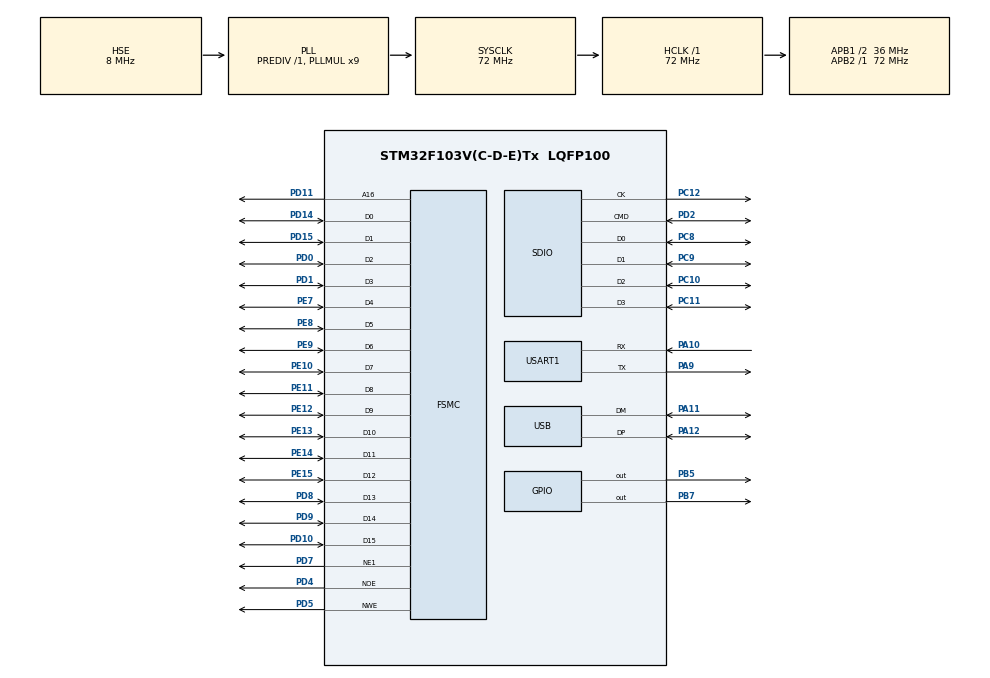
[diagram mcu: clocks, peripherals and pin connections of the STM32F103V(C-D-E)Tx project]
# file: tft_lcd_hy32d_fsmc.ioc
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Dma.Request0=SDIO
Dma.SDIO.0.Direction=DMA_MEMORY_TO_PERIPH
Dma.SDIO.0.Instance=DMA2_Channel4
Dma.SDIO.0.MemDataAlignment=DMA_MDATAALIGN_WORD
Dma.SDIO.0.MemInc=DMA_MINC_ENABLE
Dma.SDIO.0.Mode=DMA_NORMAL
Dma.SDIO.0.PeriphDataAlignment=DMA_PDATAALIGN_WORD
Dma.SDIO.0.PeriphInc=DMA_PINC_DISABLE
Dma.SDIO.0.Priority=DMA_PRIORITY_LOW
FATFS._FS_NORTC=1
FATFS._FS_TINY=0
FATFS._MAX_SS=512
FATFS._USE_FASTSEEK=0
FATFS._WORD_ACCESS=0
Mcu.Family=STM32F1
Mcu.Name=STM32F103V(C-D-E)Tx
Mcu.Package=LQFP100
NVIC.DMA2_Channel4_5_IRQn=true\:1\:0\:true\:false\:true
NVIC.PriorityGroup=NVIC_PRIORITYGROUP_4
NVIC.RTC_IRQn=true\:0\:0\:false\:false\:true
NVIC.SDIO_IRQn=true\:0\:0\:true\:false\:true
NVIC.USB_LP_CAN1_RX0_IRQn=true\:0\:0\:true\:false\:true
OSC_IN.Mode=HSE-External-Oscillator
OSC_IN.Signal=RCC_OSC_IN
OSC_OUT.Mode=HSE-External-Oscillator
OSC_OUT.Signal=RCC_OSC_OUT
PA10.Mode=Asynchronous
PA10.Signal=USART1_RX
PA11.Mode=Device
PA11.Signal=USB_DM
PA12.Mode=Device
PA12.Signal=USB_DP
PA9.Mode=Asynchronous
PA9.Signal=USART1_TX
PB5.Signal=GPIO_Output
PB7.Signal=GPIO_Output
PC10.Mode=SD_4_bits_Wide_bus
PC10.Signal=SDIO_D2
PC11.Mode=SD_4_bits_Wide_bus
PC11.Signal=SDIO_D3
PC12.Mode=SD_4_bits_Wide_bus
PC12.Signal=SDIO_CK
PC14-OSC32_IN.Mode=LSE-External-Oscillator
PC14-OSC32_IN.Signal=RCC_OSC32_IN
PC15-OSC32_OUT.Mode=LSE-External-Oscillator
PC15-OSC32_OUT.Signal=RCC_OSC32_OUT
PC8.Mode=SD_4_bits_Wide_bus
PC8.Signal=SDIO_D0
PC9.Mode=SD_4_bits_Wide_bus
PC9.Signal=SDIO_D1
PD0.Mode=16b-d1
PD0.Signal=FSMC_D2
PD1.Mode=16b-d1
PD1.Signal=FSMC_D3
PD10.Mode=16b-d1
PD10.Signal=FSMC_D15
PD11.Mode=A16_1
PD11.Signal=FSMC_A16
PD14.Mode=16b-d1
PD14.Signal=FSMC_D0
PD15.Mode=16b-d1
PD15.Signal=FSMC_D1
PD2.Mode=SD_4_bits_Wide_bus
PD2.Signal=SDIO_CMD
PD4.Mode=Lcd1
PD4.Signal=FSMC_NOE
PD5.Mode=Lcd1
PD5.Signal=FSMC_NWE
PD7.Mode=NorPsramChipSelect1_1
PD7.Signal=FSMC_NE1
PD8.Mode=16b-d1
PD8.Signal=FSMC_D13
PD9.Mode=16b-d1
PD9.Signal=FSMC_D14
PE10.Mode=16b-d1
PE10.Signal=FSMC_D7
PE11.Mode=16b-d1
PE11.Signal=FSMC_D8
PE12.Mode=16b-d1
PE12.Signal=FSMC_D9
PE13.Mode=16b-d1
PE13.Signal=FSMC_D10
PE14.Mode=16b-d1
PE14.Signal=FSMC_D11
PE15.Mode=16b-d1
PE15.Signal=FSMC_D12
PE7.Mode=16b-d1
PE7.Signal=FSMC_D4
PE8.Mode=16b-d1
PE8.Signal=FSMC_D5
PE9.Mode=16b-d1
PE9.Signal=FSMC_D6
ProjectManager.HeapSize=0x400
ProjectManager.StackSize=0x800
ProjectManager.TargetToolchain=MDK-ARM V5
RCC.AHBFreq_Value=72000000
RCC.APB1CLKDivider=RCC_HCLK_DIV2
RCC.APB1Freq_Value=36000000
RCC.APB1TimFreq_Value=72000000
RCC.APB2Freq_Value=72000000
RCC.APB2TimFreq_Value=72000000
RCC.HCLKFreq_Value=72000000
RCC.HSIState=RCC_HSI_ON
RCC.PLLMUL=RCC_PLL_MUL9
RCC.PLLSourceVirtual=RCC_PLLSOURCE_HSE
RCC.RTCClockSelection=RCC_RTCCLKSOURCE_LSE
RCC.SYSCLKFreq_VALUE=72000000
RCC.SYSCLKSource=RCC_SYSCLKSOURCE_PLLCLK
RCC.USBFreq_Value=48000000
RCC.USBPrescaler=RCC_USBCLKSOURCE_PLL_DIV1_5
RTC.Date=22
RTC.Format=RTC_FORMAT_BIN
RTC.Hours=12
RTC.Minutes=59
RTC.Month=RTC_MONTH_APRIL
RTC.Seconds=50
RTC.WeekDay=RTC_WEEKDAY_FRIDAY
RTC.Year=16
SDIO.BusWide=SDIO_BUS_WIDE_1B
SDIO.ClockDiv=4
SDIO.WideMode=SDIO_BUS_WIDE_4B
USB_DEVICE.USBD_DEBUG_LEVEL=0
USB_DEVICE.USBD_HandleTypeDef=hUsbDeviceFS
USB_DEVICE.VirtualMode=Msc
USB_DEVICE.VirtualModeFS=Msc_FS
VP_FATFS_VS_SDIO.Mode=SDIO
VP_RTC_No_RTC_Output.Mode=RTC_OUT_NO
VP_USB_DEVICE_VS_USB_DEVICE_MSC_FS.Mode=MSC_FS
board=tft_lcd_hy32d_fsmc

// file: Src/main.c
/**
  ******************************************************************************
  * File Name          : main.c
  * Description        : Main program body
  ******************************************************************************
  *
  * COPYRIGHT(c) 2016 STMicroelectronics
  *
  * Redistribution and use in source and binary forms, with or without modification,
  * are permitted provided that the following conditions are met:
  *   1. Redistributions of source code must retain the above copyright notice,
  *      this list of conditions and the following disclaimer.
  *   2. Redistributions in binary form must reproduce the above copyright notice,
  *      this list of conditions and the following disclaimer in the documentation
  *      and/or other materials provided with the distribution.
  *   3. Neither the name of STMicroelectronics nor the names of its contributors
  *      may be used to endorse or promote products derived from this software
  *      without specific prior written permission.
  *
  * THIS SOFTWARE IS PROVIDED BY THE COPYRIGHT HOLDERS AND CONTRIBUTORS "AS IS"
  * AND ANY EXPRESS OR IMPLIED WARRANTIES, INCLUDING, BUT NOT LIMITED TO, THE
  * IMPLIED WARRANTIES OF MERCHANTABILITY AND FITNESS FOR A PARTICULAR PURPOSE ARE
  * DISCLAIMED. IN NO EVENT SHALL THE COPYRIGHT HOLDER OR CONTRIBUTORS BE LIABLE
  * FOR ANY DIRECT, INDIRECT, INCIDENTAL, SPECIAL, EXEMPLARY, OR CONSEQUENTIAL
  * DAMAGES (INCLUDING, BUT NOT LIMITED TO, PROCUREMENT OF SUBSTITUTE GOODS OR
  * SERVICES; LOSS OF USE, DATA, OR PROFITS; OR BUSINESS INTERRUPTION) HOWEVER
  * CAUSED AND ON ANY THEORY OF LIABILITY, WHETHER IN CONTRACT, STRICT LIABILITY,
  * OR TORT (INCLUDING NEGLIGENCE OR OTHERWISE) ARISING IN ANY WAY OUT OF THE USE
  * OF THIS SOFTWARE, EVEN IF ADVISED OF THE POSSIBILITY OF SUCH DAMAGE.
  *
  ******************************************************************************
  */
#include "stm32f1xx_hal.h"
#include "fatfs.h"
#include "usb_device.h"
#include "TouchPanel.h"
/* USER CODE BEGIN Includes */
#include "string.h"
/* USER CODE END Includes */

RTC_HandleTypeDef hrtc;

SD_HandleTypeDef hsd;
HAL_SD_CardInfoTypedef SDCardInfo;
DMA_HandleTypeDef hdma_sdio;

UART_HandleTypeDef huart1;

SRAM_HandleTypeDef hsram1;

/* USER CODE BEGIN PV */
/* Private variables ---------------------------------------------------------*/

/* USER CODE END PV */

void SystemClock_Config(void);
static void MX_GPIO_Init(void);
static void MX_DMA_Init(void);
static void MX_FSMC_Init(void);
static void MX_SDIO_SD_Init(void);
static void MX_USART1_UART_Init(void);
static void MX_RTC_Init(void);

/* USER CODE BEGIN PFP */
/* Private function prototypes -----------------------------------------------*/

/* USER CODE END PFP */

/* USER CODE BEGIN 0 */
const int TSTWORD = 201;
static RTC_TimeTypeDef sTime;
static RTC_DateTypeDef		sDate;

// FSMC
#define FSMC_LCD_INSTANCE &hsram1
#define FSMC_LCD_DATA 		(uint32_t*)0x60020000
#define FSMC_LCD_COMMAND  (uint32_t*)0x60000000

void FSMC_LCD_Write_Command(uint16_t command) {
  *(__IO uint16_t *)FSMC_LCD_COMMAND = command;
	//HAL_SRAM_Write_16b(FSMC_LCD_INSTANCE, FSMC_LCD_COMMAND, &command, 1);
}

void FSMC_LCD_Write_Data(uint16_t data) {
  *(__IO uint16_t *)FSMC_LCD_DATA = data;
	//HAL_SRAM_Write_16b(FSMC_LCD_INSTANCE, FSMC_LCD_DATA, &data, 1);
}

uint16_t FSMC_LCD_Read_Data(void) {
	uint16_t data = 0;
	data = *(__IO uint16_t *)FSMC_LCD_DATA;
  //HAL_SRAM_Read_16b(FSMC_LCD_INSTANCE, FSMC_LCD_DATA, &data, 1);
	return data;
}

void FSMC_LCD_Write_Register(uint16_t reg, uint16_t val)
{
  FSMC_LCD_Write_Command(reg);
  FSMC_LCD_Write_Data(val);
}

// SSD1289 Initialize Sequence
// R01h Display Control Register
#define LCD_R01_RL 0
#define LCD_R01_REV 1
#define LCD_R01_CAD 0
#define LCD_R01_BGR 0
#define LCD_R01_SM 0
#define LCD_R01_TB 1
#define LCD_R01_MUX 319

// PB11-LED_A
void LCD_BACKLIGHT_ON() { HAL_GPIO_WritePin(GPIOB,GPIO_PIN_5,GPIO_PIN_SET);}
void LCD_BACKLIGHT_OFF() { HAL_GPIO_WritePin(GPIOB,GPIO_PIN_5,GPIO_PIN_RESET); }

void SSD1289_Init() {

  LCD_BACKLIGHT_ON();

  // Display ON Sequence
  // Power supply setting

  // Set R07h at 0021h
  FSMC_LCD_Write_Register(0x07, 0x0021);
  HAL_Delay(1);  // s
  FSMC_LCD_Write_Register(0x00, 0x0001);
  HAL_Delay(1);  // s

  // Set R07h at 0023h
  FSMC_LCD_Write_Register(0x07, 0x0023);
  HAL_Delay(1);  // s

  // Set R10h at 0000h
  FSMC_LCD_Write_Register(0x10, 0x0000);
  HAL_Delay(1);  // s

  // Wait 30ms
  HAL_Delay(30);  // s

  // Set R07h at 0033h
  FSMC_LCD_Write_Register(0x07, 0x0033);
  HAL_Delay(1);  // s

  // Entry Mode setting (R11h)
  FSMC_LCD_Write_Register(0x0011, 0x6070);
  HAL_Delay(1);  // s

  // LCD driver AC setting (R02h)
  FSMC_LCD_Write_Register(0x0002, 0x0600);
  HAL_Delay(1);  // s

  // Driver Output Control (R01h)
  FSMC_LCD_Write_Register(0x0001,
      (LCD_R01_RL << 14) | (LCD_R01_REV << 13) | (LCD_R01_CAD << 12) | (LCD_R01_BGR << 11) | (LCD_R01_SM << 10) | (LCD_R01_TB << 9) | LCD_R01_MUX);
  HAL_Delay(1);

	FSMC_LCD_Write_Register(0x000b, 0x0000);  // Frame Cycle Control
  FSMC_LCD_Write_Register(0x000f, 0x0000);  // Gate Scan Start Position
	FSMC_LCD_Write_Register(0x0044, 0xef00);  // Horizontal RAM start and end address
  FSMC_LCD_Write_Register(0x0045, 0x0000);  // Vertical RAM start address
  FSMC_LCD_Write_Register(0x0046, 0x013f);  // Vertical RAM end address

  // RAM data write (R22h)
  FSMC_LCD_Write_Command(0x0022);  // s

  // Display ON and start to write RAM
  HAL_Delay(100);
}

// LCD Graphic Interface
// Colors
#define yellow    0x07FF
#define magneta   0xF81F
#define cyan      0xFFE0
#define red       0x001F
#define green     0x07E0
#define blue      0xF800
#define white     0xFFFF
#define black     0x3185
#define glass      0x0000

const unsigned char font_5x7[][5] = { { 0x00, 0x00, 0x00, 0x00, 0x00 }, // �?���?�q�u�|
    { 0x00, 0x00, 0x4f, 0x00, 0x00 },     // !
    { 0x00, 0x07, 0x00, 0x07, 0x00 },     // "
    { 0x14, 0x7f, 0x14, 0x7f, 0x14 },     // #
    { 0x24, 0x2a, 0x7f, 0x2a, 0x12 },     // $
    { 0x23, 0x13, 0x08, 0x64, 0x62 },     // %
    { 0x36, 0x49, 0x55, 0x22, 0x40 },     // &
    { 0x00, 0x05, 0x03, 0x00, 0x00 },     // ,
    { 0x00, 0x1c, 0x22, 0x41, 0x00 },     // (
    { 0x00, 0x41, 0x22, 0x1c, 0x00 },     // )
    { 0x14, 0x08, 0x3E, 0x08, 0x14 },     // *
    { 0x08, 0x08, 0x3E, 0x08, 0x08 },     // +
    { 0x00, 0x50, 0x30, 0x00, 0x00 },     // ,
    { 0x08, 0x08, 0x08, 0x08, 0x08 },     // -
    { 0x00, 0x00, 0x40, 0x00, 0x00 },     // .
    { 0x20, 0x10, 0x08, 0x04, 0x02 },     // /
    { 0x3e, 0x51, 0x49, 0x45, 0x3e },     // 0
    { 0x00, 0x42, 0x7f, 0x40, 0x00 },     // 1
    { 0x42, 0x61, 0x51, 0x49, 0x46 },     // 2
    { 0x21, 0x41, 0x45, 0x4b, 0x31 },     // 3
    { 0x18, 0x14, 0x12, 0x7f, 0x10 },     // 4
    { 0x27, 0x45, 0x45, 0x45, 0x39 },     // 5
    { 0x3c, 0x4a, 0x49, 0x49, 0x30 },     // 6
    { 0x01, 0x71, 0x09, 0x05, 0x03 },     // 7
    { 0x36, 0x49, 0x49, 0x49, 0x36 },     // 8
    { 0x06, 0x49, 0x49, 0x29, 0x1e },     // 9
    { 0x00, 0x00, 0x24, 0x00, 0x00 },     // :
    { 0x00, 0x56, 0x36, 0x00, 0x00 },     // ;
    { 0x08, 0x1C, 0x3E, 0x7F, 0x00 },     // <
    { 0x14, 0x14, 0x14, 0x14, 0x14 },     // =
    { 0x00, 0x7F, 0x3E, 0x1C, 0x08 },     // >
    { 0x02, 0x01, 0x51, 0x09, 0x06 },     // ?
    { 0x32, 0x49, 0x71, 0x41, 0x3e },     // @
    { 0x7e, 0x11, 0x11, 0x11, 0x7e },     // A
    { 0x7f, 0x49, 0x49, 0x49, 0x36 },     // B
    { 0x3e, 0x41, 0x41, 0x41, 0x22 },     // C
    { 0x7f, 0x41, 0x41, 0x22, 0x1c },     // D
    { 0x7f, 0x49, 0x49, 0x49, 0x41 },     // E
    { 0x7f, 0x09, 0x09, 0x09, 0x01 },     // F
    { 0x3e, 0x41, 0x49, 0x49, 0x3a },     // G
    { 0x7f, 0x08, 0x08, 0x08, 0x7f },     // H
    { 0x00, 0x41, 0x7f, 0x41, 0x00 },     // I
    { 0x20, 0x40, 0x41, 0x3f, 0x01 },     // J
    { 0x7f, 0x08, 0x14, 0x22, 0x41 },     // K
    { 0x7f, 0x40, 0x40, 0x40, 0x40 },     // L
    { 0x7f, 0x02, 0x0c, 0x02, 0x7f },     // M
    { 0x7f, 0x04, 0x08, 0x10, 0x7f },     // N
    { 0x3e, 0x41, 0x41, 0x41, 0x3e },     // O
    { 0x7f, 0x09, 0x09, 0x09, 0x06 },     // P
    { 0x3e, 0x41, 0x51, 0x21, 0x5e },     // Q
    { 0x7f, 0x09, 0x19, 0x29, 0x46 },     // R
    { 0x46, 0x49, 0x49, 0x49, 0x31 },     // S
    { 0x01, 0x01, 0x7f, 0x01, 0x01 },     // T
    { 0x3f, 0x40, 0x40, 0x40, 0x3f },     // U
    { 0x1f, 0x20, 0x40, 0x20, 0x1f },     // V
    { 0x3f, 0x40, 0x30, 0x40, 0x3f },     // W
    { 0x63, 0x14, 0x08, 0x14, 0x63 },     // X
    { 0x07, 0x08, 0x70, 0x08, 0x07 },     // Y
    { 0x61, 0x51, 0x49, 0x45, 0x43 },     // Z
    { 0x00, 0x7F, 0x41, 0x41, 0x00 },     // [
    { 0x02, 0x04, 0x08, 0x10, 0x20 },     //
    { 0x02, 0x04, 0x08, 0x10, 0x20 },     //
    { 0x00, 0x41, 0x41, 0x7F, 0x00 },     // ]
    { 0x04, 0x02, 0x01, 0x02, 0x04 },     // ^
    { 0x40, 0x40, 0x40, 0x40, 0x40 },     // _
    { 0x20, 0x54, 0x54, 0x54, 0x78 },     // a
    { 0x7F, 0x48, 0x44, 0x44, 0x38 },     // b
    { 0x38, 0x44, 0x44, 0x44, 0x20 },     // c
    { 0x38, 0x44, 0x44, 0x48, 0x7F },     // d
    { 0x38, 0x54, 0x54, 0x54, 0x18 },     // e
    { 0x08, 0x7E, 0x09, 0x01, 0x02 },     // f
    { 0x0C, 0x52, 0x52, 0x52, 0x3E },     // g
    { 0x7F, 0x08, 0x04, 0x04, 0x78 },     // h
    { 0x00, 0x44, 0x7D, 0x40, 0x00 },     // i
    { 0x20, 0x40, 0x44, 0x3D, 0x00 },     // j
    { 0x7F, 0x10, 0x28, 0x44, 0x00 },     // k
    { 0x00, 0x41, 0x7F, 0x40, 0x00 },     // l
    { 0x7C, 0x04, 0x18, 0x04, 0x78 },     // m
    { 0x7C, 0x08, 0x04, 0x04, 0x78 },     // n
    { 0x38, 0x44, 0x44, 0x44, 0x38 },     // o
    { 0x7C, 0x14, 0x14, 0x14, 0x08 },     // p
    { 0x08, 0x14, 0x14, 0x18, 0x7C },     // q
    { 0x7C, 0x08, 0x04, 0x04, 0x08 },     // r
    { 0x48, 0x54, 0x54, 0x54, 0x20 },     // s
    { 0x04, 0x3F, 0x44, 0x40, 0x20 },     // t
    { 0x3C, 0x40, 0x40, 0x20, 0x7C },     // u
    { 0x1C, 0x20, 0x40, 0x20, 0x1C },     // v
    { 0x3C, 0x40, 0x30, 0x40, 0x3C },     // w
    { 0x44, 0x28, 0x10, 0x28, 0x44 },     // x
    { 0x0C, 0x50, 0x50, 0x50, 0x3C },     // y
    { 0x44, 0x64, 0x54, 0x4C, 0x44 },     // z
    { 0x00, 0x08, 0x36, 0x41, 0x00 },     // {
    { 0x00, 0x00, 0x7f, 0x00, 0x00 },     // |
    { 0x00, 0x41, 0x36, 0x08, 0x00 },     // }
    { 0x02, 0x01, 0x02, 0x02, 0x01 }     // ~
};

void LCD_SetCursor(uint16_t x, uint16_t y) {

  FSMC_LCD_Write_Register(0x004E,x);
  FSMC_LCD_Write_Register(0x004F,y);
  FSMC_LCD_Write_Command(0x22);
}

void LCD_Clear(uint16_t color) {
  uint32_t index = 0;
  LCD_SetCursor(0, 0);
  FSMC_LCD_Write_Command(0x22);
  for (index = 0; index < 240 * 320; index++) {
    FSMC_LCD_Write_Data(color);
  }
	FSMC_LCD_Write_Command(0x0022);
}

void LCD_SetPoint(uint16_t x, uint16_t y, uint16_t Color) {
  LCD_SetCursor(y, x);
  FSMC_LCD_Write_Register(0x22, Color);
}

void LCD_SetArea(uint16_t x1, uint16_t y1, uint16_t x2, uint16_t y2) {
  FSMC_LCD_Write_Command(0x44);
  FSMC_LCD_Write_Data((x2 << 8) | x1);    // Source RAM address window
  FSMC_LCD_Write_Command(0x45);
  FSMC_LCD_Write_Data(y1);    // Gate RAM address window
  FSMC_LCD_Write_Command(0x46);
  FSMC_LCD_Write_Data(y2);    // Gate RAM address window
  LCD_SetCursor(x1, y1);
}

void LCD_WriteChar5x7(uint16_t x, uint16_t y, char c, uint16_t t_color,
    uint16_t b_color, uint8_t rot, uint8_t zoom) {
  unsigned char h, ch, p, mask, z, z1;

  if (rot != 0)
    LCD_SetArea(x, y, x + (6 * zoom) - 1, y + (8 * zoom) - 1);
  else
    LCD_SetArea(y, x, y + (8 * zoom) - 1, x + (6 * zoom) - 1);

  for (h = 0; h < 6; h++) {
    if (h < 5) {
      if ((uint8_t)c < 129)
        ch = font_5x7[c - 32][h];
      else
        ch = font_5x7[c - 32 - 63][h];

      if (rot != 0) {
        FSMC_LCD_Write_Register(0x0011,0x6078);
        FSMC_LCD_Write_Command(0x22);
      }
    } else
      ch = 0;

    z1 = zoom;
    while (z1 != 0) {
      if (rot != 0)
        mask = 0x01;
      else
        mask = 0x80;

      for (p = 0; p < 8; p++) {
        z = zoom;

				if(b_color == glass)
        while (z != 0) {
          if (ch & mask)
            FSMC_LCD_Write_Data(t_color);
          else
            FSMC_LCD_Read_Data();
          z--;
        }
				else
					while (z != 0) {
          if (ch & mask)
            FSMC_LCD_Write_Data(t_color);
          else
						FSMC_LCD_Write_Data(b_color);
          z--;
        }

        if (rot != 0)
          mask = mask << 1;
        else
          mask = mask >> 1;
      }
      z1--;
    }
  }

	LCD_SetArea(0,0,239,316);
}

void LCD_WriteString_5x7(uint16_t x, uint16_t y, char *text, uint16_t charColor,
    uint16_t b_color, uint8_t rot, uint8_t zoom) {
  uint8_t i;
  for (i = 0; *text; i++)
    LCD_WriteChar5x7(x + (i * 6 * zoom), y, *text++, charColor, b_color, rot,
        zoom);
}

void LCD_Draw_Line(uint16_t x1, uint16_t y1, uint16_t x2, uint16_t y2,
    uint16_t color) {
  uint16_t x, y, dx, dy;
  if (y1 == y2) {
    if (x1 <= x2)
      x = x1;
    else {
      x = x2;
      x2 = x1;
    }

    while (x <= x2) {
      LCD_SetPoint(x, y1, color);
      x++;
    }
    return;
  }

  else if (y1 > y2)
    dy = y1 - y2;
  else
    dy = y2 - y1;

  if (x1 == x2) {
    if (y1 <= y2)
      y = y1;
    else {
      y = y2;
      y2 = y1;
    }

    while (y <= y2) {
      LCD_SetPoint(x1, y, color);
      y++;
    }
    return;
  }

  else if (x1 > x2) {
    dx = x1 - x2;
    x = x2;
    x2 = x1;
    y = y2;
    y2 = y1;
  } else {
    dx = x2 - x1;
    x = x1;
    y = y1;
  }
  if (dx == dy) {
    while (x <= x2) {
      x++;
      if (y > y2)
        y--;

      else
        y++;
      LCD_SetPoint(x, y, color);
    }
  } else {
    LCD_SetPoint(x, y, color);
    if (y < y2) {
      if (dx > dy) {
        int16_t p = dy * 2 - dx;
        int16_t twoDy = 2 * dy;
        int16_t twoDyMinusDx = 2 * (dy - dx);
        while (x < x2) {
          x++;
          if (p < 0)
            p += twoDy;
          else {
            y++;
            p += twoDyMinusDx;
          }
          LCD_SetPoint(x, y, color);
        }
      } else {
        int16_t p = dx * 2 - dy;
        int16_t twoDx = 2 * dx;
        int16_t twoDxMinusDy = 2 * (dx - dy);
        while (y < y2) {
          y++;
          if (p < 0)
            p += twoDx;
          else {
            x++;
            p += twoDxMinusDy;
          }
          LCD_SetPoint(x, y, color);
        }
      }
    } else {
      if (dx > dy) {
        int16_t p = dy * 2 - dx;
        int16_t twoDy = 2 * dy;
        int16_t twoDyMinusDx = 2 * (dy - dx);
        while (x < x2) {
          x++;
          if (p < 0)
            p += twoDy;
          else {
            y--;
            p += twoDyMinusDx;
          }
          LCD_SetPoint(x, y, color);
        }
      } else {
        int16_t p = dx * 2 - dy;
        int16_t twoDx = 2 * dx;
        int16_t twoDxMinusDy = 2 * (dx - dy);
        while (y2 < y) {
          y--;
          if (p < 0)
            p += twoDx;
          else {
            x++;
            p += twoDxMinusDy;
          }
          LCD_SetPoint(x, y, color);
        }
      }
    }
  }
}

void LCD_Draw_Rectangle(uint16_t x1, uint16_t y1, uint16_t x2, uint16_t y2,
    uint16_t color, uint8_t fill) {
  if (fill) {
    uint16_t i;
    if (x1 > x2) {
      i = x2;
      x2 = x1;
    } else
      i = x1;
    for (; i <= x2; i++)
      LCD_Draw_Line(i, y1, i, y2, color);
    return;
  }
  LCD_Draw_Line(x1, y1, x1, y2, color);
  LCD_Draw_Line(x1, y2, x2, y2, color);
  LCD_Draw_Line(x2, y2, x2, y1, color);
  LCD_Draw_Line(x2, y1, x1, y1, color);
}

void HAL_RTCEx_RTCEventCallback(RTC_HandleTypeDef *hrtc){
	static int day = 0;
HAL_RTC_GetDate(hrtc, &sDate, FORMAT_BIN);
HAL_RTC_GetTime(hrtc, &sTime, FORMAT_BIN);
	if(day != sDate.Date){
		day = sDate.Date;
		HAL_RTCEx_BKUPWrite(hrtc, RTC_BKP_DR2,sDate.Month);
		HAL_RTCEx_BKUPWrite(hrtc, RTC_BKP_DR3,sDate.Date);
		HAL_RTCEx_BKUPWrite(hrtc, RTC_BKP_DR4,sDate.Year);
	}

};

void HAL_RTCEx_RTCEventErrorCallback(RTC_HandleTypeDef *hrtc){

while(1){};

}

/* USER CODE END 0 */

int main(void)
{

  /* USER CODE BEGIN 1 */
 FATFS fileSystem;
 FIL testFile;
  UINT testBytes;
  FRESULT res;
	char buf[100];
  /* USER CODE END 1 */

  /* MCU Configuration----------------------------------------------------------*/

  /* Reset of all peripherals, Initializes the Flash interface and the Systick. */
  HAL_Init();

  /* Configure the system clock */
  SystemClock_Config();

  /* Initialize all configured peripherals */
  MX_GPIO_Init();
  MX_DMA_Init();
  MX_FSMC_Init();
  MX_SDIO_SD_Init();
  MX_USART1_UART_Init();
  MX_FATFS_Init();
  MX_USB_DEVICE_Init();
  MX_RTC_Init();

  /* USER CODE BEGIN 2 */

HAL_GPIO_WritePin(GPIOB,GPIO_PIN_7,GPIO_PIN_SET);
HAL_Delay(100);

  SSD1289_Init();
LCD_Clear(black);

TP_Init();
 TouchPanel_Calibrate(0);
//HAL_UART_Transmit(&huart1,"start\n",strlen("start\n"),1);
//HAL_UART_Transmit(&huart1,"star1\n",strlen("star1\n"),1);
//HAL_UART_Transmit(&huart1,"star2\n",strlen("star2\n"),1);

	//MX_USB_DEVICE_Init();
	//HAL_Delay(1000);
	//HAL_GPIO_WritePin(GPIOB,GPIO_PIN_7,GPIO_PIN_RESET);

 f_mount(&fileSystem, SD_Path, 1);

		uint8_t path[13] = "testfile.txt";
    path[12] = '\0';

 	LCD_Clear(yellow);/*
  LCD_WriteString_5x7(20, 240 - 30, "Hello world.", red, yellow, 0, 1);
	LCD_WriteString_5x7(20, 240 - 30 - 20, "STM32F103VET6", green, yellow, 0, 1);
*/

  /* USER CODE END 2 */

  /* Infinite loop */
  while (1)
  {

  /* USER CODE BEGIN 3 */
/*	LCD_Clear(yellow);*/

  //LCD_Draw_Rectangle(50, 160, 150, 175, red, 1);
  //LCD_Draw_Rectangle(10, 10, 40, 40, blue, 1);
  //LCD_Draw_Rectangle(20, 20, 60, 60, white, 1);
		/*
		memset(buf,0,100);
		sprintf(buf, "Date: %02d/%02d/%02d", sDate.Date, sDate.Month, sDate.Year);
LCD_WriteString_5x7(50,100, buf, magneta, yellow,0, 2);
		memset(buf,0,100);
sprintf(buf, "Time: %02d:%02d:%02d", sTime.Hours, sTime.Minutes, sTime.Seconds);
LCD_WriteString_5x7(50, 160, buf, magneta, yellow,0, 2);
//HAL_UART_Transmit(&huart1,(uint8_t*)&buf, strlen(buf), 10);
*/
		//Read_Ads7846();
		//LCD_TouchRead(&display);
		int x,y;
		TP_GetAdXY(&x,&y);
				sprintf(buf, "x %05d y %05d", x,y);
LCD_WriteString_5x7(50, 50, buf, magneta, yellow,0, 2);

		if(Read_Ads7846() != 0){
		getDisplayPoint(&display, Read_Ads7846(), &matrix ) ; // ???????? ?????
 					//	 TP_DrawPoint(display.x,display.y);	// ?????????? ?????

		sprintf(buf, "xS %03d yS %03d", display.x,display.y);
LCD_WriteString_5x7(50, 75, buf, magneta, yellow,0, 2);
			LCD_Draw_Rectangle(display.y,display.x,display.y+2,display.x+2,red,1);
		}else{
		//sprintf(buf, "xS NON yS NON");
		}

	/*	if(sTime.Seconds %10 ==0){
		     res = f_open(&testFile, (char*)path, FA_READ |FA_WRITE );
		uint16_t tmp = f_size(&testFile);
		res = f_lseek(&testFile, tmp);

		memset(buf,0,100);
		sprintf(buf, "Date: %02d/%02d/%02d Time: %02d:%02d:%02d\r\n\0", sDate.Date, sDate.Month, sDate.Year, sTime.Hours, sTime.Minutes, sTime.Seconds);

    res = f_write(&testFile, buf, strlen(buf), &testBytes);
		f_sync(&testFile);
    res = f_close(&testFile);
*/
	//MX_USB_DEVICE_Init();
	/*HAL_Delay(1000);
	HAL_GPIO_WritePin(GPIOB,GPIO_PIN_7,GPIO_PIN_RESET);*/

	//	}

		/*for(int i = 1; i < 10; i++){
			char buf[255];
			memset(buf,0,255);
			sprintf(buf,"Tcvetkov Evgeniy %d",i);
			LCD_WriteString_5x7(50, 240 - 30 - 20 - 20*i, buf, magneta, glass,0, 1);
		}*/

/*
  LCD_WriteString_5x7(10, 240 - 30 - 20 - 20 - 20, "abcdefghijklmnopqrstuvwxyz",
      yellow, black, 0, 1);
  LCD_WriteString_5x7(10, 240 - 30 - 20 - 20 - 20 - 10,
      "ABCDEFGHIJKLMNOPQRSTUVWXYZ", green, black, 0, 1);
  LCD_WriteString_5x7(10, 240 - 30 - 20 - 20 - 20 - 10 - 10,
      "!@#$%^&*()+-={[}]|;:'\"<,.>`~", blue, black, 0, 1);
	  LCD_WriteString_5x7(10, 240 - 30 - 20 - 20 - 20 - 10 - 10 -10,
      "!@#$%^&*()+-={[}]|;:'\"<,.>`~", blue, black, 1, 1);*/
	//	LCD_WriteString_5x7(10, 240 - 30 - 20 - 20 - 20 - 10 - 10 -10 - 10,
    //  "", blue, black, 1, 1);
			//FSMC_LCD_Write_Command(0x0022);
		//HAL_Delay(1000);

  }
  /* USER CODE END 3 */

}

/** System Clock Configuration
*/
void SystemClock_Config(void)
{

  RCC_OscInitTypeDef RCC_OscInitStruct;
  RCC_ClkInitTypeDef RCC_ClkInitStruct;
  RCC_PeriphCLKInitTypeDef PeriphClkInit;

  RCC_OscInitStruct.OscillatorType = RCC_OSCILLATORTYPE_HSE|RCC_OSCILLATORTYPE_LSE;
  RCC_OscInitStruct.HSEState = RCC_HSE_ON;
  RCC_OscInitStruct.HSEPredivValue = RCC_HSE_PREDIV_DIV1;
  RCC_OscInitStruct.LSEState = RCC_LSE_ON;
  RCC_OscInitStruct.PLL.PLLState = RCC_PLL_ON;
  RCC_OscInitStruct.PLL.PLLSource = RCC_PLLSOURCE_HSE;
  RCC_OscInitStruct.PLL.PLLMUL = RCC_PLL_MUL9;
  HAL_RCC_OscConfig(&RCC_OscInitStruct);

  RCC_ClkInitStruct.ClockType = RCC_CLOCKTYPE_HCLK|RCC_CLOCKTYPE_SYSCLK
                              |RCC_CLOCKTYPE_PCLK1|RCC_CLOCKTYPE_PCLK2;
  RCC_ClkInitStruct.SYSCLKSource = RCC_SYSCLKSOURCE_PLLCLK;
  RCC_ClkInitStruct.AHBCLKDivider = RCC_SYSCLK_DIV1;
  RCC_ClkInitStruct.APB1CLKDivider = RCC_HCLK_DIV2;
  RCC_ClkInitStruct.APB2CLKDivider = RCC_HCLK_DIV1;
  HAL_RCC_ClockConfig(&RCC_ClkInitStruct, FLASH_LATENCY_2);

  PeriphClkInit.PeriphClockSelection = RCC_PERIPHCLK_RTC|RCC_PERIPHCLK_USB;
  PeriphClkInit.RTCClockSelection = RCC_RTCCLKSOURCE_LSE;
  PeriphClkInit.UsbClockSelection = RCC_USBCLKSOURCE_PLL_DIV1_5;
  HAL_RCCEx_PeriphCLKConfig(&PeriphClkInit);

  HAL_SYSTICK_Config(HAL_RCC_GetHCLKFreq()/1000);

  HAL_SYSTICK_CLKSourceConfig(SYSTICK_CLKSOURCE_HCLK);

  /* SysTick_IRQn interrupt configuration */
  HAL_NVIC_SetPriority(SysTick_IRQn, 2, 0);
}

/* RTC init function */
void MX_RTC_Init(void)
{

  RTC_TimeTypeDef sTime;
  RTC_DateTypeDef DateToUpdate;

    /**Initialize RTC and set the Time and Date
    */
  hrtc.Instance = RTC;
  hrtc.Init.AsynchPrediv = RTC_AUTO_1_SECOND;
  hrtc.Init.OutPut = RTC_OUTPUTSOURCE_NONE;
  HAL_RTC_Init(&hrtc);

if(HAL_RTCEx_BKUPRead(&hrtc,RTC_BKP_DR1) != TSTWORD){
	HAL_RTCEx_BKUPWrite(&hrtc,RTC_BKP_DR1, TSTWORD);

  sTime.Hours = 22;
  sTime.Minutes = 02;
  sTime.Seconds = 00;

  HAL_RTC_SetTime(&hrtc, &sTime, RTC_FORMAT_BIN);

  DateToUpdate.WeekDay = RTC_WEEKDAY_FRIDAY;
  DateToUpdate.Month = RTC_MONTH_APRIL;
  DateToUpdate.Date = 23;
  DateToUpdate.Year = 16;

  HAL_RTC_SetDate(&hrtc, &DateToUpdate, RTC_FORMAT_BIN);

		HAL_RTCEx_BKUPWrite(&hrtc, RTC_BKP_DR2,sDate.Month);
		HAL_RTCEx_BKUPWrite(&hrtc, RTC_BKP_DR3,sDate.Date);
		HAL_RTCEx_BKUPWrite(&hrtc, RTC_BKP_DR4,sDate.Year);
} else {
		sDate.Month = HAL_RTCEx_BKUPRead(&hrtc, RTC_BKP_DR2);
		sDate.Date = HAL_RTCEx_BKUPRead(&hrtc, RTC_BKP_DR3);
		sDate.Year = HAL_RTCEx_BKUPRead(&hrtc, RTC_BKP_DR4);

}

}

/* SDIO init function */
void MX_SDIO_SD_Init(void)
{

  hsd.Instance = SDIO;
  hsd.Init.ClockEdge = SDIO_CLOCK_EDGE_RISING;
  hsd.Init.ClockBypass = SDIO_CLOCK_BYPASS_DISABLE;
  hsd.Init.ClockPowerSave = SDIO_CLOCK_POWER_SAVE_DISABLE;
  hsd.Init.BusWide = SDIO_BUS_WIDE_1B;
  hsd.Init.HardwareFlowControl = SDIO_HARDWARE_FLOW_CONTROL_DISABLE;
  hsd.Init.ClockDiv = 4;

}

/* USART1 init function */
void MX_USART1_UART_Init(void)
{

  huart1.Instance = USART1;
  huart1.Init.BaudRate = 115200;
  huart1.Init.WordLength = UART_WORDLENGTH_8B;
  huart1.Init.StopBits = UART_STOPBITS_1;
  huart1.Init.Parity = UART_PARITY_NONE;
  huart1.Init.Mode = UART_MODE_TX_RX;
  huart1.Init.HwFlowCtl = UART_HWCONTROL_NONE;
  huart1.Init.OverSampling = UART_OVERSAMPLING_16;
  HAL_UART_Init(&huart1);

}

void MX_DMA_Init(void)
{
  /* DMA controller clock enable */
  __HAL_RCC_DMA2_CLK_ENABLE();

  /* DMA interrupt init */
  /* DMA2_Channel4_5_IRQn interrupt configuration */
  HAL_NVIC_SetPriority(DMA2_Channel4_5_IRQn, 1, 0);
  HAL_NVIC_EnableIRQ(DMA2_Channel4_5_IRQn);

}

/** Configure pins as
        * Analog
        * Input
        * Output
        * EVENT_OUT
        * EXTI
*/
void MX_GPIO_Init(void)
{

  GPIO_InitTypeDef GPIO_InitStruct;

  /* GPIO Ports Clock Enable */
  __HAL_RCC_GPIOC_CLK_ENABLE();
  __HAL_RCC_GPIOE_CLK_ENABLE();
  __HAL_RCC_GPIOD_CLK_ENABLE();
  __HAL_RCC_GPIOA_CLK_ENABLE();
  __HAL_RCC_GPIOB_CLK_ENABLE();

  /*Configure GPIO pin Output Level */
  HAL_GPIO_WritePin(GPIOB, GPIO_PIN_5|GPIO_PIN_7, GPIO_PIN_RESET);

  /*Configure GPIO pins : PB5 PB7 */
  GPIO_InitStruct.Pin = GPIO_PIN_5|GPIO_PIN_7;
  GPIO_InitStruct.Mode = GPIO_MODE_OUTPUT_PP;
  GPIO_InitStruct.Speed = GPIO_SPEED_FREQ_LOW;
  HAL_GPIO_Init(GPIOB, &GPIO_InitStruct);

}

/* FSMC initialization function */
void MX_FSMC_Init(void)
{
  FSMC_NORSRAM_TimingTypeDef Timing;

  /** Perform the SRAM1 memory initialization sequence
  */
  hsram1.Instance = FSMC_NORSRAM_DEVICE;
  hsram1.Extended = FSMC_NORSRAM_EXTENDED_DEVICE;
  /* hsram1.Init */
  hsram1.Init.NSBank = FSMC_NORSRAM_BANK1;
  hsram1.Init.DataAddressMux = FSMC_DATA_ADDRESS_MUX_DISABLE;
  hsram1.Init.MemoryType = FSMC_MEMORY_TYPE_SRAM;
  hsram1.Init.MemoryDataWidth = FSMC_NORSRAM_MEM_BUS_WIDTH_16;
  hsram1.Init.BurstAccessMode = FSMC_BURST_ACCESS_MODE_DISABLE;
  hsram1.Init.WaitSignalPolarity = FSMC_WAIT_SIGNAL_POLARITY_LOW;
  hsram1.Init.WrapMode = FSMC_WRAP_MODE_DISABLE;
  hsram1.Init.WaitSignalActive = FSMC_WAIT_TIMING_BEFORE_WS;
  hsram1.Init.WriteOperation = FSMC_WRITE_OPERATION_ENABLE;
  hsram1.Init.WaitSignal = FSMC_WAIT_SIGNAL_DISABLE;
  hsram1.Init.ExtendedMode = FSMC_EXTENDED_MODE_DISABLE;
  hsram1.Init.AsynchronousWait = FSMC_ASYNCHRONOUS_WAIT_DISABLE;
  hsram1.Init.WriteBurst = FSMC_WRITE_BURST_DISABLE;
  /* Timing */
  Timing.AddressSetupTime = 15;
  Timing.AddressHoldTime = 15;
  Timing.DataSetupTime = 255;
  Timing.BusTurnAroundDuration = 15;
  Timing.CLKDivision = 16;
  Timing.DataLatency = 17;
  Timing.AccessMode = FSMC_ACCESS_MODE_A;
  /* ExtTiming */

  HAL_SRAM_Init(&hsram1, &Timing, NULL);

  /** Disconnect NADV
  */

  __HAL_AFIO_FSMCNADV_DISCONNECTED();

}

/************************ (C) COPYRIGHT STMicroelectronics *****END OF FILE****/
